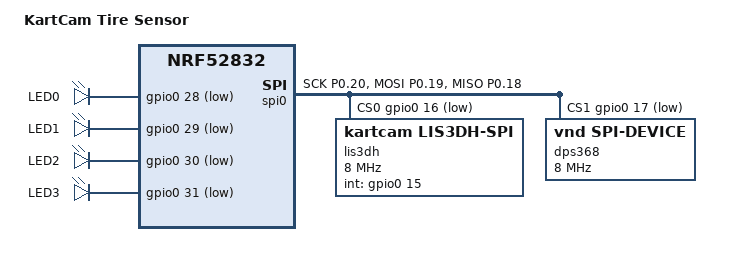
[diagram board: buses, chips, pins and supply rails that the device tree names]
/dts-v1/;
#include <nordic/nrf52832_qfaa.dtsi>

/ {
	model = "KartCam Tire Sensor";
	compatible = "kartcam,kartcam_tire";

	chosen {
		zephyr,sram = &sram0;
		zephyr,flash = &flash0;
	};

	leds {
		compatible = "gpio-leds";
		led0: led_0 { gpios = <&gpio0 28 GPIO_ACTIVE_LOW>; label = "LED0"; };
		led1: led_1 { gpios = <&gpio0 29 GPIO_ACTIVE_LOW>; label = "LED1"; };
		led2: led_2 { gpios = <&gpio0 30 GPIO_ACTIVE_LOW>; label = "LED2"; };
		led3: led_3 { gpios = <&gpio0 31 GPIO_ACTIVE_LOW>; label = "LED3"; };
	};

/*
	buttons {
		compatible = "gpio-keys";
		btn0: button_0 {
			gpios = <&gpio0 10 GPIO_ACTIVE_LOW>;
			label = "BTN0";
		};
	};
*/

    aliases {
        led0 = &led0;
        led1 = &led1;
        led2 = &led2;
        led3 = &led3;
    };
};

&pinctrl {
    spi0_default: spi0_default {
        group1 {
            psels = <NRF_PSEL(SPIM_SCK, 0, 20)>,
                    <NRF_PSEL(SPIM_MOSI, 0, 19)>,
                    <NRF_PSEL(SPIM_MISO, 0, 18)>;
            };
        };
};

&gpio0 { status = "okay"; };
&gpiote { status = "okay"; };

&spi0 {
	status = "okay";

    pinctrl-0 = <&spi0_default>;
    pinctrl-names = "default";

    cs-gpios = <&gpio0 16 GPIO_ACTIVE_LOW>, <&gpio0 17 GPIO_ACTIVE_LOW>;

	lis3dh: lis3dh@0 {
		compatible = "kartcam,lis3dh-spi";
		reg = <0>;

		spi-max-frequency = <8000000>;
		spi-cpol;
		spi-cpha;

		int-gpios = <&gpio0 15 GPIO_ACTIVE_HIGH>;
	};

	dps368: dps368@1 {
		compatible = "vnd,spi-device";
		reg = <1>;

		spi-max-frequency = <8000000>;
		spi-cpol;
		spi-cpha;
	};
};
